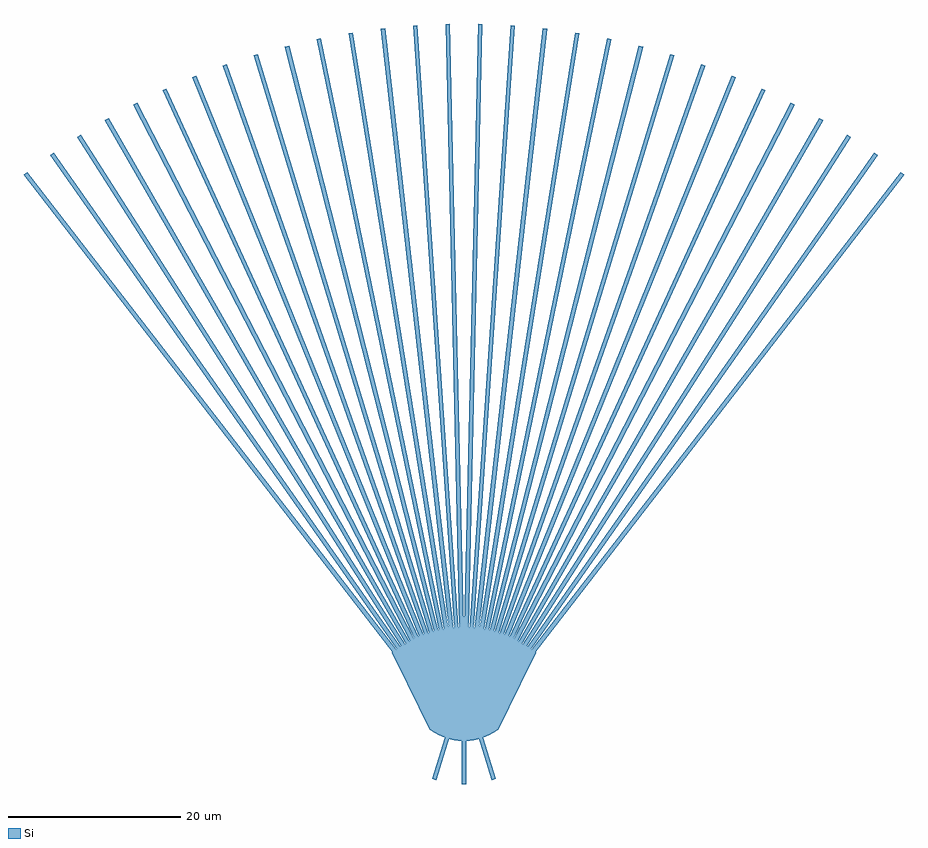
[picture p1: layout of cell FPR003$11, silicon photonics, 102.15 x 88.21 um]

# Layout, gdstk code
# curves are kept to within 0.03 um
from math import pi, radians
import gdstk
lib = gdstk.Library(unit=1e-6, precision=1e-09)
def R(c, l, rs):  # rectangles x0, y0, x1, y1
    for r in rs: c.add(gdstk.rectangle(r[:2], r[2:], *l))
def P(c, l, *ps):  # polygons
    for p in ps: c.add(gdstk.Polygon(p, *l))
Si = (1, 0)

taper006_11 = lib.new_cell('taper006$11')
R(taper006_11, Si, [(-70,-0.25,2.5,0.25)])

taper005_11 = lib.new_cell('taper005$11')
R(taper005_11, Si, [(-5,-0.25,2.5,0.25)])

boolean004_11 = lib.new_cell('boolean004$11')
P(boolean004_11, Si, [(3.594,-8.412),(-5.29,-3.97),(-5.841,-3.106),(-6.291,-2.044),(-6.515,-1.149),(-6.615,0),(-6.515,1.149),(-6.291,2.044),(-5.841,3.106),(-5.29,3.97),(3.594,8.412),(4.353,7.398),(4.843,6.615),(5.276,5.8),(5.817,4.525),(6.222,3.201),(6.414,2.297),(6.543,1.383),(6.615,0),(6.543,-1.383),(6.414,-2.297),(6.222,-3.201),(5.817,-4.525),(5.276,-5.8),(4.843,-6.615),(4.353,-7.398)])

fpr003_11 = lib.new_cell('FPR003$11')
fpr003_11.add(gdstk.Reference(taper006_11, (67.622,3.856), rotation=radians(232.3193)))
fpr003_11.add(gdstk.Reference(taper006_11, (67.139,4.212), rotation=radians(234.9179)))
fpr003_11.add(gdstk.Reference(taper006_11, (66.64,4.545), rotation=radians(237.5166)))
fpr003_11.add(gdstk.Reference(taper006_11, (55.121,5.857), rotation=radians(289.49)))
fpr003_11.add(gdstk.Reference(taper006_11, (54.56,5.644), rotation=radians(292.0887)))
fpr003_11.add(gdstk.Reference(taper006_11, (65.6,5.143), rotation=radians(242.714)))
fpr003_11.add(gdstk.Reference(taper006_11, (52.43,4.545), rotation=radians(302.4834)))
fpr003_11.add(gdstk.Reference(taper006_11, (55.691,6.044), rotation=radians(286.8914)))
fpr003_11.add(gdstk.Reference(taper006_11, (52.943,4.856), rotation=radians(299.8847)))
fpr003_11.add(gdstk.Reference(taper006_11, (66.127,4.856), rotation=radians(240.1153)))
fpr003_11.add(gdstk.Reference(taper006_11, (58.636,6.584), rotation=radians(273.898)))
fpr003_11.add(gdstk.Reference(taper006_11, (54.009,5.406), rotation=radians(294.6874)))
fpr003_11.add(gdstk.Reference(taper005_11, (61.512,-6.313), rotation=radians(107.3897), x_reflection=True))
fpr003_11.add(gdstk.Reference(taper006_11, (51.931,4.212), rotation=radians(305.0821)))
fpr003_11.add(gdstk.Reference(taper005_11, (59.535,-6.615), rotation=pi/2, x_reflection=True))
fpr003_11.add(gdstk.Reference(taper006_11, (53.47,5.143), rotation=radians(297.286)))
fpr003_11.add(gdstk.Reference(taper005_11, (57.558,-6.313), rotation=radians(72.6103), x_reflection=True))
fpr003_11.add(gdstk.Reference(boolean004_11, (59.535,0), rotation=pi/2, x_reflection=True))
fpr003_11.add(gdstk.Reference(taper006_11, (56.853,6.34), rotation=radians(281.694)))
fpr003_11.add(gdstk.Reference(taper006_11, (57.444,6.449), rotation=radians(279.0953)))
fpr003_11.add(gdstk.Reference(taper006_11, (59.235,6.612), rotation=radians(271.2993)))
fpr003_11.add(gdstk.Reference(taper006_11, (60.434,6.584), rotation=radians(266.102)))
fpr003_11.add(gdstk.Reference(taper006_11, (51.448,3.856), rotation=radians(307.6807)))
fpr003_11.add(gdstk.Reference(taper006_11, (61.032,6.53), rotation=radians(263.5033)))
fpr003_11.add(gdstk.Reference(taper006_11, (59.835,6.612), rotation=radians(268.7007)))
fpr003_11.add(gdstk.Reference(taper006_11, (61.626,6.449), rotation=radians(260.9047)))
fpr003_11.add(gdstk.Reference(taper006_11, (62.217,6.34), rotation=radians(258.306)))
fpr003_11.add(gdstk.Reference(taper006_11, (58.038,6.53), rotation=radians(276.4967)))
fpr003_11.add(gdstk.Reference(taper006_11, (63.379,6.044), rotation=radians(253.1086)))
fpr003_11.add(gdstk.Reference(taper006_11, (62.801,6.205), rotation=radians(255.7073)))
fpr003_11.add(gdstk.Reference(taper006_11, (63.949,5.857), rotation=radians(250.51)))
fpr003_11.add(gdstk.Reference(taper006_11, (64.51,5.644), rotation=radians(247.9113)))
fpr003_11.add(gdstk.Reference(taper006_11, (56.269,6.205), rotation=radians(284.2927)))
fpr003_11.add(gdstk.Reference(taper006_11, (65.061,5.406), rotation=radians(245.3126)))

lib.write_gds('FPR003_11.gds')
